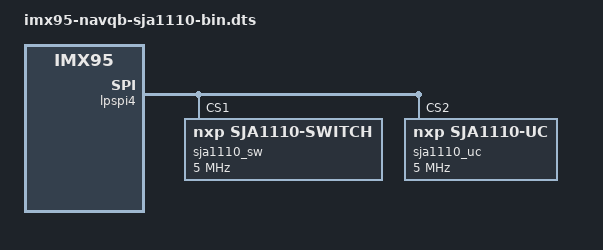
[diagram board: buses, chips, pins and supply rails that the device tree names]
// SPDX-License-Identifier: (GPL-2.0+ OR MIT)
/*
 * Copyright 2026 NXP
 */

#include "imx95-navqb.dts"

/delete-node/ &sja1110_ap;

&lpspi4 {
        sja1110_sw: sja1110-switch@1 {
		compatible = "nxp,sja1110-switch";
		reg = <1>;
		spi-max-frequency = <5000000>;
		gpio-controller;
		#gpio-cells = <2>;
	};

	sja1110_uc: sja1110-uc@2 {
		compatible = "nxp,sja1110-uc";
		reg = <2>;
		spi-max-frequency = <5000000>;
	};
};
